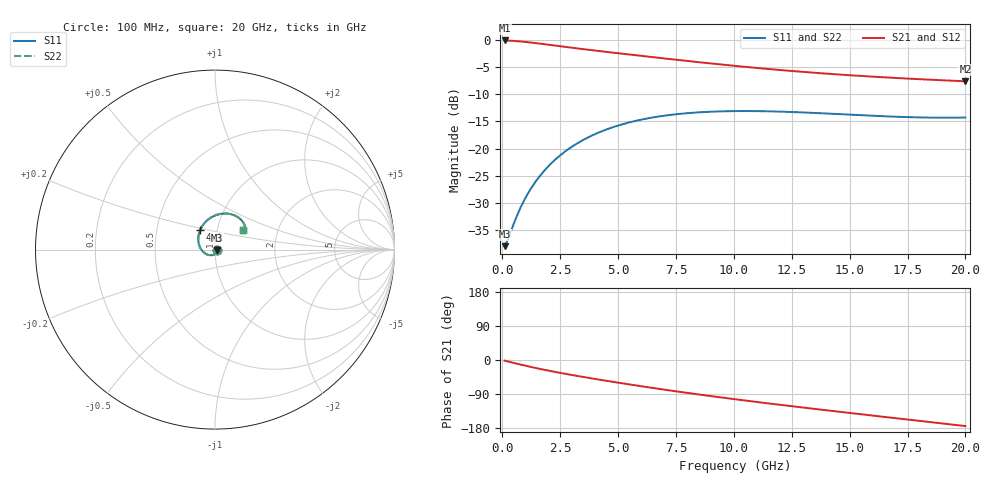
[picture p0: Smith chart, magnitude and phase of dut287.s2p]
! Touchstone file exported from HFSS 2023.1.0
!  File:  D:/Users/fzz/RDL_TSV/temp_RDL_TSV_287_1778763299.aedt
!  Generated:  9:03:58 %x4E0B%x5348  5%x6708 14, 2026
!  Design:  RDL_TSV
!  Project:  temp_RDL_TSV_287_1778763299
!  Setup:  Setup1
!  Solution:  Sweep
! Variables:
!  dtsv = 11.81um
!  hbump = 3um
!  htsv = 66.61um
!  ldown = 427.75um
!  lrdl = 319.23um
!  p = 40
!  p1 = 45.14um
!  rhole = 10um
!  subl = 2560.17um
!  t = 450um
!  tdown = 2.08um
!  trdl = 4.88um
!  viad = 10um
!  wdown = 26.04um
!  wrdl = 29.82um
!  xbump = 18um
# GHz S MA R 50.000000
! Terminal data exported
! Port[1] = TM1_1_T1
! Port[2] = TM1_4_T1
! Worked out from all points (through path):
!   200 points, 100 MHz to 20 GHz, reference 50 ohm
!   highest |S21| = -0.11 dB at 100 MHz (marker M1); lowest = -7.6 dB at 20 GHz (marker M2)
!   group delay of S21, straight-line fit = 23 ps
!   lowest |S11| = -38.0 dB at 100 MHz (marker M3), VSWR 1.03, Z = 51.2 - j0.361 ohm
!   |S11| at or under -10 dB: start of sweep to end of sweep
!   |S22| runs from -38.0 to -13.1 dB; largest |S21 - S12| = 8.7e-15
!   S11 on the Smith chart (normalised r, x): 100 MHz: 1.02, -0.01; 4.1 GHz: 0.83, +0.19; 20 GHz: 1.33, +0.31
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0.1  0.01263 -16.2  0.9872 -1.6  0.9872 -1.6  0.01263 -16.2
! Gamma 0 0 0 0
! Port Impedance 50 0 50 0
0.2  0.0139 -32.1  0.9856 -3.2  0.9856 -3.2  0.0139 -32.1
0.6  0.02313 -83.5  0.9742 -9.3  0.9742 -9.3  0.02312 -83.5
0.8  0.02892 -101.9  0.9663 -12.2  0.9663 -12.2  0.02892 -101.9
1.1  0.03832 -124.2  0.9522 -16.5  0.9522 -16.5  0.03832 -124.3
1.5  0.05167 -148.0  0.9304 -21.9  0.9304 -21.9  0.05169 -148.1
1.9  0.06554 -167.4  0.9073 -26.9  0.9073 -26.9  0.06559 -167.5
2.4  0.08307 172.6  0.8786 -32.8  0.8786 -32.8  0.08316 172.5
2.9  0.1003 156.2  0.8514 -38.4  0.8514 -38.4  0.1005 156.1
3.5  0.1201 139.8  0.8209 -44.8  0.8209 -44.8  0.1203 139.7
4.1  0.1385 126.1  0.7926 -50.9  0.7926 -50.9  0.1387 126.1
4.7  0.1551 114.5  0.7659 -56.9  0.7659 -56.9  0.1553 114.4
5.4  0.172 102.8  0.7364 -63.6  0.7364 -63.6  0.1723 102.7
6.8  0.1977 83.9  0.6817 -76.5  0.6817 -76.5  0.1981 83.9
8.4  0.2147 67.6  0.6257 -90.3  0.6257 -90.3  0.2151 67.6
10.1  0.2211 54.6  0.5745 -103.9  0.5745 -103.9  0.2214 54.7
11.7  0.2195 45.7  0.5343 -116.1  0.5343 -116.1  0.2198 45.8
13.4  0.2129 39.1  0.4993 -128.4  0.4993 -128.4  0.2132 39.2
15  0.205 35.3  0.4725 -139.7  0.4725 -139.7  0.2052 35.4
16.7  0.1972 33.6  0.4494 -151.5  0.4494 -151.5  0.1974 33.8
18.3  0.1928 33.8  0.4315 -162.6  0.4315 -162.6  0.193 34.0
20  0.1929 35.1  0.4156 -174.3  0.4156 -174.3  0.1932 35.4
